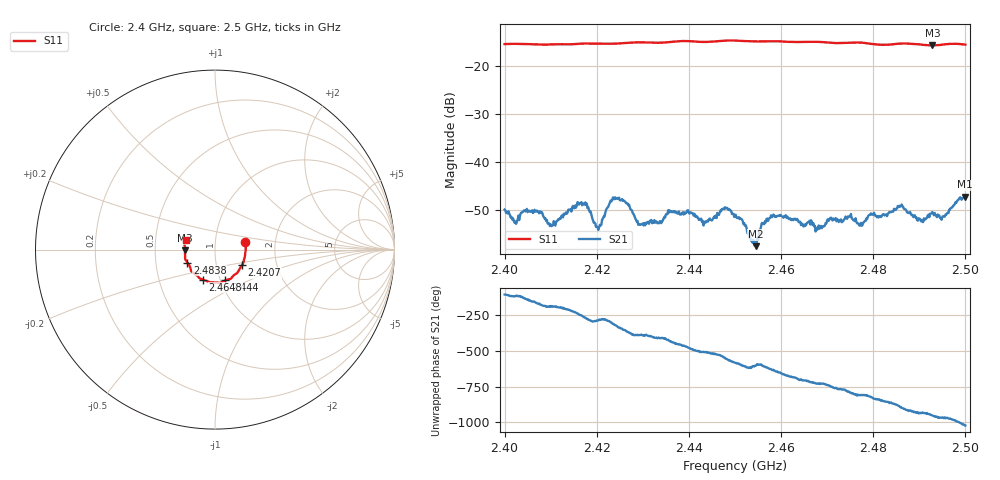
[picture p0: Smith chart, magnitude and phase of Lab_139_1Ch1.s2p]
# Hz S RI R 50
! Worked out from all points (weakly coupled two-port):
!   601 points, 2.4 GHz to 2.5 GHz, reference 50 ohm
!   highest |S21| = -47.31 dB at 2.4998 GHz (marker M1); lowest = -57.7 dB at 2.4545 GHz (marker M2)
!   lowest |S11| = -15.6 dB at 2.4928 GHz (marker M3), VSWR 1.40, Z = 35.7 - j0.31 ohm
!   |S11| at or under -10 dB: start of sweep to end of sweep
!   S12 and S22 are empty: the file has one direction only
!   S11 on the Smith chart (normalised r, x): 2.4 GHz: 1.39, +0.12; 2.4207 GHz: 1.33, -0.24; 2.444 GHz: 1.05, -0.37; 2.4648 GHz: 0.83, -0.29; 2.4838 GHz: 0.73, -0.11; 2.5 GHz: 0.72, +0.08
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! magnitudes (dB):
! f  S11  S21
! 2.4 GHz  -15.3  -50.0
! 2.4022 GHz  -15.3  -52.8
! 2.4075 GHz  -15.4  -50.8
! 2.41 GHz  -15.4  -53.1
! 2.4167 GHz  -15.2  -48.4
! 2.4207 GHz  -15.2  -53.2
! 2.424 GHz  -15.2  -47.5
! 2.4292 GHz  -14.9  -53.0
! 2.4333 GHz  -15.0  -52.9
! 2.436 GHz  -14.9  -50.5
! 2.444 GHz  -14.8  -52.3
! 2.4478 GHz  -14.6  -49.5
! 2.45 GHz  -14.6  -51.1
! 2.4545 GHz  -14.7  -57.7
! 2.458 GHz  -14.7  -51.6
! 2.4648 GHz  -14.9  -53.5
! 2.4667 GHz  -14.8  -52.6
! 2.4833 GHz  -15.4  -50.8
! 2.4838 GHz  -15.4  -50.6
! 2.4928 GHz  -15.6  -50.5
! 2.4998 GHz  -15.4  -47.3
! 2.5 GHz  -15.4  -47.5
